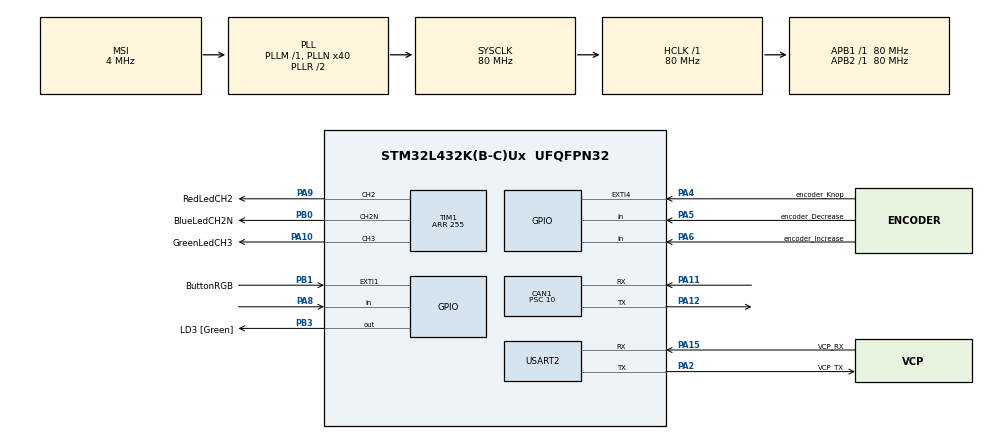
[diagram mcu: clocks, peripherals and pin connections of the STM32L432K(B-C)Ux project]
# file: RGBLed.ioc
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CAN1.ABOM=DISABLE
CAN1.BS1=CAN_BS1_13TQ
CAN1.BS2=CAN_BS2_2TQ
CAN1.CalculateBaudRate=500000
CAN1.CalculateTimeBit=2000
CAN1.CalculateTimeQuantum=125.0
CAN1.NART=ENABLE
CAN1.Prescaler=10
Mcu.Family=STM32L4
Mcu.Name=STM32L432K(B-C)Ux
Mcu.Package=UFQFPN32
NVIC.CAN1_RX0_IRQn=true\:0\:0\:false\:false\:true\:true\:true\:true
NVIC.EXTI1_IRQn=true\:0\:0\:false\:false\:true\:true\:true\:true
NVIC.PriorityGroup=NVIC_PRIORITYGROUP_4
PA0.GPIO_Label=MCO [High speed clock in]
PA0.Mode=HSE-External-Clock-Source-for-LittleOrca
PA0.Signal=RCC_CK_IN
PA10.GPIO_Label=GreenLedCH3
PA10.Signal=S_TIM1_CH3
PA11.GPIO_PuPd=GPIO_NOPULL
PA11.Mode=CAN_Activate
PA11.Signal=CAN1_RX
PA12.Mode=CAN_Activate
PA12.Signal=CAN1_TX
PA13\ (JTMS-SWDIO).GPIO_Label=SWDIO
PA13\ (JTMS-SWDIO).Mode=Serial_Wire
PA13\ (JTMS-SWDIO).Signal=SYS_JTMS-SWDIO
PA14\ (JTCK-SWCLK).GPIO_Label=SWCLK
PA14\ (JTCK-SWCLK).Mode=Serial_Wire
PA14\ (JTCK-SWCLK).Signal=SYS_JTCK-SWCLK
PA15\ (JTDI).GPIO_Label=VCP_RX
PA15\ (JTDI).Mode=Asynchronous
PA15\ (JTDI).Signal=USART2_RX
PA2.GPIO_Label=VCP_TX
PA2.Mode=Asynchronous
PA2.Signal=USART2_TX
PA4.GPIO_Label=encoder_Knop
PA4.GPIO_ModeDefaultEXTI=GPIO_MODE_IT_FALLING
PA4.GPIO_PuPd=GPIO_PULLUP
PA4.Signal=GPXTI4
PA5.GPIO_Label=encoder_Decrease
PA5.GPIO_PuPd=GPIO_PULLUP
PA5.Signal=GPIO_Input
PA6.GPIO_Label=encoder_Increase
PA6.GPIO_PuPd=GPIO_PULLUP
PA6.Signal=GPIO_Input
PA8.Signal=GPIO_Input
PA9.GPIO_Label=RedLedCH2
PA9.Signal=S_TIM1_CH2
PB0.GPIO_Label=BlueLedCH2N
PB0.Mode=PWM Generation2 CH2 CH2N
PB0.Signal=TIM1_CH2N
PB1.GPIO_Label=ButtonRGB
PB1.GPIO_ModeDefaultEXTI=GPIO_MODE_IT_FALLING
PB1.GPIO_PuPd=GPIO_PULLUP
PB1.Signal=GPXTI1
PB3\ (JTDO-TRACESWO).GPIO_Label=LD3 [Green]
PB3\ (JTDO-TRACESWO).Signal=GPIO_Output
PC14-OSC32_IN\ (PC14).Mode=LSE-External-Oscillator
PC14-OSC32_IN\ (PC14).Signal=RCC_OSC32_IN
PC15-OSC32_OUT\ (PC15).Mode=LSE-External-Oscillator
PC15-OSC32_OUT\ (PC15).Signal=RCC_OSC32_OUT
ProjectManager.HeapSize=0x200
ProjectManager.StackSize=0x400
ProjectManager.TargetToolchain=STM32CubeIDE
RCC.AHBFreq_Value=80000000
RCC.APB1Freq_Value=80000000
RCC.APB1TimFreq_Value=80000000
RCC.APB2Freq_Value=80000000
RCC.APB2TimFreq_Value=80000000
RCC.CortexFreq_Value=80000000
RCC.HCLKFreq_Value=80000000
RCC.HSE_VALUE=8000000
RCC.HSI16_VALUE=16000000
RCC.HSI48_VALUE=48000000
RCC.HSI_VALUE=16000000
RCC.MSI_VALUE=4000000
RCC.PLLMUL=RCC_PLLMUL_4
RCC.PLLN=40
RCC.SYSCLKFreq_VALUE=80000000
RCC.SYSCLKSource=RCC_SYSCLKSOURCE_PLLCLK
RCC.VCOOutputFreq_Value=160000000
SH.S_TIM1_CH2.0=TIM1_CH2,PWM Generation2 CH2 CH2N
SH.S_TIM1_CH3.0=TIM1_CH3,PWM Generation3 CH3
TIM1.Channel-PWM\ Generation2\ CH2\ CH2N=TIM_CHANNEL_2
TIM1.Channel-PWM\ Generation3\ CH3=TIM_CHANNEL_3
TIM1.Period=255
USART2.VirtualMode-Asynchronous=VM_ASYNC
VP_TIM1_VS_ClockSourceINT.Mode=Internal
board=NUCLEO-L432KC

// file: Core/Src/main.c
/* USER CODE BEGIN Header */
/**
  ******************************************************************************
  * @file           : main.c
  * @brief          : Main program body
  ******************************************************************************
  * @attention
  *
  * Copyright (c) 2026 STMicroelectronics.
  * All rights reserved.
  *
  * This software is licensed under terms that can be found in the LICENSE file
  * in the root directory of this software component.
  * If no LICENSE file comes with this software, it is provided AS-IS.
  *
  ******************************************************************************
  */
/* USER CODE END Header */
#include "main.h"

/* USER CODE BEGIN PD */
#define STEPS_PER_REV 10
/* USER CODE END PD */

CAN_HandleTypeDef hcan1;

TIM_HandleTypeDef htim1;

UART_HandleTypeDef huart2;

/* USER CODE BEGIN PV */
CAN_RxHeaderTypeDef rxHeader;
CAN_TxHeaderTypeDef header; //tx
uint8_t rxData[8];
int datacheck = 0;
uint32_t txMailbox;
uint8_t txData[8];
uint32_t mailbox;
uint8_t data[2];
int lastReportedSteps = 0;
int revolutions = 0;
/* USER CODE END PV */

void SystemClock_Config(void);
static void MX_GPIO_Init(void);
static void MX_USART2_UART_Init(void);
static void MX_TIM1_Init(void);
static void MX_CAN1_Init(void);
/* USER CODE BEGIN PFP */
void set_rgbOrange();
void set_rgbRed();
void set_rgbGreen();
void set_rgbBlue();
void set_rgbPurple();
void set_rgbYellow();
void set_rgbCyan();
void set_rgbWhite();
void turn_LedOff();

/* USER CODE END PFP */

int main(void)
{

  /* MCU Configuration--------------------------------------------------------*/

  /* Reset of all peripherals, Initializes the Flash interface and the Systick. */
  HAL_Init();

  /* Configure the system clock */
  SystemClock_Config();

  /* Initialize all configured peripherals */
  MX_GPIO_Init();
  MX_USART2_UART_Init();
  MX_TIM1_Init();
  MX_CAN1_Init();
  /* USER CODE BEGIN 2 */
  HAL_TIM_PWM_Start(&htim1, TIM_CHANNEL_2);   // CH2 RED
  HAL_TIMEx_PWMN_Start(&htim1, TIM_CHANNEL_2); // CH2N BLUE
  HAL_TIM_PWM_Start(&htim1, TIM_CHANNEL_3);//CH3 GREEN

  CAN_FilterTypeDef filter;

  filter.FilterBank = 0;
  filter.FilterMode = CAN_FILTERMODE_IDMASK;
  filter.FilterScale = CAN_FILTERSCALE_32BIT;
  filter.FilterIdHigh = 0;
  filter.FilterIdLow = 0;
  filter.FilterMaskIdHigh = 0;
  filter.FilterMaskIdLow = 0;
  filter.FilterFIFOAssignment = CAN_FILTER_FIFO0;
  filter.FilterActivation = ENABLE;

  HAL_CAN_ConfigFilter(&hcan1, &filter);
  HAL_CAN_Start(&hcan1);
  if (HAL_CAN_ActivateNotification(&hcan1, CAN_IT_RX_FIFO0_MSG_PENDING)
			!= HAL_OK) {
		Error_Handler();
	}

  HAL_UART_Transmit(&huart2, "Voor while", 10, HAL_MAX_DELAY);

  	    header.StdId = 500;
  	    header.IDE = CAN_ID_STD;
  	    header.RTR = CAN_RTR_DATA;
  	    header.DLC = 2;
  	  data[0] = 0x11;
  	  data[1] = 0x12;

  /* USER CODE END 2 */

  /* Infinite loop */
  /* USER CODE BEGIN WHILE */
  while (1)
  {
	  // ── ENCODER DRAAIEN ──────────────────────────────────────
	  static uint8_t lastState = 0;
	  uint8_t a = HAL_GPIO_ReadPin(GPIOA, encoder_Increase_Pin);
	  uint8_t b = HAL_GPIO_ReadPin(GPIOA, encoder_Decrease_Pin);
	  uint8_t currentState = (a << 1) | b;

	  int8_t delta = 0;
	  if ((lastState == 0b00 && currentState == 0b01) ||
	      (lastState == 0b01 && currentState == 0b11) ||
	      (lastState == 0b11 && currentState == 0b10) ||
	      (lastState == 0b10 && currentState == 0b00)) { delta = +1; }
	  else if ((lastState == 0b00 && currentState == 0b10) ||
	           (lastState == 0b10 && currentState == 0b11) ||
	           (lastState == 0b11 && currentState == 0b01) ||
	           (lastState == 0b01 && currentState == 0b00)) { delta = -1; }
	  lastState = currentState;

	  if (delta != 0) {
	      lastReportedSteps += delta;
	      if (lastReportedSteps >= STEPS_PER_REV) {
	          revolutions++;
	          lastReportedSteps -= STEPS_PER_REV;
	          CAN_TxHeaderTypeDef hdrEnc;
	          uint32_t mbEnc;
	          uint8_t dEnc[2];
	          hdrEnc.StdId = 0x1FE;
	          hdrEnc.IDE   = CAN_ID_STD;
	          hdrEnc.RTR   = CAN_RTR_DATA;
	          hdrEnc.DLC   = 2;
	          dEnc[0] = (revolutions >> 8) & 0xFF;
	          dEnc[1] =  revolutions & 0xFF;
	          HAL_CAN_AddTxMessage(&hcan1, &hdrEnc, dEnc, &mbEnc);
	      } else if (lastReportedSteps <= -STEPS_PER_REV) {
	          revolutions--;
	          lastReportedSteps += STEPS_PER_REV;
	          CAN_TxHeaderTypeDef hdrEnc;
	          uint32_t mbEnc;
	          uint8_t dEnc[2];
	          hdrEnc.StdId = 0x1FE;
	          hdrEnc.IDE   = CAN_ID_STD;
	          hdrEnc.RTR   = CAN_RTR_DATA;
	          hdrEnc.DLC   = 2;
	          dEnc[0] = (revolutions >> 8) & 0xFF;
	          dEnc[1] =  revolutions & 0xFF;
	          HAL_CAN_AddTxMessage(&hcan1, &hdrEnc, dEnc, &mbEnc);
	      }
	  }

	  // ── ENCODER KNOP (PA4) ───────────────────────────────────
	  static GPIO_PinState lastKnopState = GPIO_PIN_SET;
	  GPIO_PinState knopState = HAL_GPIO_ReadPin(GPIOA, encoder_Knop_Pin);

	  if (knopState == GPIO_PIN_RESET && lastKnopState == GPIO_PIN_SET) {
	      HAL_Delay(50);
	      CAN_TxHeaderTypeDef hdrKnop;
	      uint32_t mbKnop;
	      uint8_t dKnop[1] = {0x01};
	      hdrKnop.StdId = 0x1FF;
	      hdrKnop.IDE   = CAN_ID_STD;
	      hdrKnop.RTR   = CAN_RTR_DATA;
	      hdrKnop.DLC   = 1;
	      HAL_CAN_AddTxMessage(&hcan1, &hdrKnop, dKnop, &mbKnop);
	  }
	  lastKnopState = knopState;

//	   set_rgbOrange();
//	   HAL_Delay(2000);
//	   set_rgbRed();
//	   HAL_Delay(2000);
//	   set_rgbGreen();
//	   HAL_Delay(2000);
//	   set_rgbBlue();
//	   HAL_Delay(2000);
//	   set_rgbPurple();
//	   HAL_Delay(2000);
//	   set_rgbYellow();
//	   HAL_Delay(2000);
//	   set_rgbCyan();
//	   HAL_Delay(2000);
//	   set_rgbWhite();
//	   HAL_Delay(2000);
//	  turn_LedOff();
//	  HAL_Delay(2000);

	  if (datacheck) {
	      datacheck = 0;
	      HAL_UART_Transmit(&huart2, "can binnen", 10, HAL_MAX_DELAY);
	      if (rxHeader.StdId == 501) {
	          set_rgbOrange();
	      } else if (rxHeader.StdId == 502) {
	          set_rgbRed();
	      } else if (rxHeader.StdId == 503) {
	          set_rgbGreen();
	      } else if (rxHeader.StdId == 504) {
	          set_rgbBlue();
	      } else if (rxHeader.StdId == 505) {
	          set_rgbPurple();
	      } else if (rxHeader.StdId == 506) {
	          set_rgbYellow();
	      } else if (rxHeader.StdId == 507) {
	          set_rgbCyan();
	      } else if (rxHeader.StdId == 508) {
	          set_rgbWhite();
	      }
	      	else if (rxHeader.StdId == 509) {
	    	  turn_LedOff();
	      }
	  }

    /* USER CODE END WHILE */

  }
}

void SystemClock_Config(void)
{
  RCC_OscInitTypeDef RCC_OscInitStruct = {0};
  RCC_ClkInitTypeDef RCC_ClkInitStruct = {0};

  /** Configure the main internal regulator output voltage
  */
  if (HAL_PWREx_ControlVoltageScaling(PWR_REGULATOR_VOLTAGE_SCALE1) != HAL_OK)
  {
    Error_Handler();
  }

  /** Configure LSE Drive Capability
  */
  HAL_PWR_EnableBkUpAccess();
  __HAL_RCC_LSEDRIVE_CONFIG(RCC_LSEDRIVE_LOW);

  /** Initializes the RCC Oscillators according to the specified parameters
  * in the RCC_OscInitTypeDef structure.
  */
  RCC_OscInitStruct.OscillatorType = RCC_OSCILLATORTYPE_LSE|RCC_OSCILLATORTYPE_MSI;
  RCC_OscInitStruct.LSEState = RCC_LSE_ON;
  RCC_OscInitStruct.MSIState = RCC_MSI_ON;
  RCC_OscInitStruct.MSICalibrationValue = 0;
  RCC_OscInitStruct.MSIClockRange = RCC_MSIRANGE_6;
  RCC_OscInitStruct.PLL.PLLState = RCC_PLL_ON;
  RCC_OscInitStruct.PLL.PLLSource = RCC_PLLSOURCE_MSI;
  RCC_OscInitStruct.PLL.PLLM = 1;
  RCC_OscInitStruct.PLL.PLLN = 40;
  RCC_OscInitStruct.PLL.PLLP = RCC_PLLP_DIV7;
  RCC_OscInitStruct.PLL.PLLQ = RCC_PLLQ_DIV2;
  RCC_OscInitStruct.PLL.PLLR = RCC_PLLR_DIV2;
  if (HAL_RCC_OscConfig(&RCC_OscInitStruct) != HAL_OK)
  {
    Error_Handler();
  }

  /** Initializes the CPU, AHB and APB buses clocks
  */
  RCC_ClkInitStruct.ClockType = RCC_CLOCKTYPE_HCLK|RCC_CLOCKTYPE_SYSCLK
                              |RCC_CLOCKTYPE_PCLK1|RCC_CLOCKTYPE_PCLK2;
  RCC_ClkInitStruct.SYSCLKSource = RCC_SYSCLKSOURCE_PLLCLK;
  RCC_ClkInitStruct.AHBCLKDivider = RCC_SYSCLK_DIV1;
  RCC_ClkInitStruct.APB1CLKDivider = RCC_HCLK_DIV1;
  RCC_ClkInitStruct.APB2CLKDivider = RCC_HCLK_DIV1;

  if (HAL_RCC_ClockConfig(&RCC_ClkInitStruct, FLASH_LATENCY_4) != HAL_OK)
  {
    Error_Handler();
  }

  /** Enable MSI Auto calibration
  */
  HAL_RCCEx_EnableMSIPLLMode();
}

static void MX_CAN1_Init(void)
{

  hcan1.Instance = CAN1;
  hcan1.Init.Prescaler = 10;
  hcan1.Init.Mode = CAN_MODE_NORMAL;
  hcan1.Init.SyncJumpWidth = CAN_SJW_1TQ;
  hcan1.Init.TimeSeg1 = CAN_BS1_13TQ;
  hcan1.Init.TimeSeg2 = CAN_BS2_2TQ;
  hcan1.Init.TimeTriggeredMode = DISABLE;
  hcan1.Init.AutoBusOff = DISABLE;
  hcan1.Init.AutoWakeUp = DISABLE;
  hcan1.Init.AutoRetransmission = ENABLE;
  hcan1.Init.ReceiveFifoLocked = DISABLE;
  hcan1.Init.TransmitFifoPriority = DISABLE;
  if (HAL_CAN_Init(&hcan1) != HAL_OK)
  {
    Error_Handler();
  }

}

static void MX_TIM1_Init(void)
{

  TIM_ClockConfigTypeDef sClockSourceConfig = {0};
  TIM_MasterConfigTypeDef sMasterConfig = {0};
  TIM_OC_InitTypeDef sConfigOC = {0};
  TIM_BreakDeadTimeConfigTypeDef sBreakDeadTimeConfig = {0};

  htim1.Instance = TIM1;
  htim1.Init.Prescaler = 0;
  htim1.Init.CounterMode = TIM_COUNTERMODE_UP;
  htim1.Init.Period = 255;
  htim1.Init.ClockDivision = TIM_CLOCKDIVISION_DIV1;
  htim1.Init.RepetitionCounter = 0;
  htim1.Init.AutoReloadPreload = TIM_AUTORELOAD_PRELOAD_DISABLE;
  if (HAL_TIM_Base_Init(&htim1) != HAL_OK)
  {
    Error_Handler();
  }
  sClockSourceConfig.ClockSource = TIM_CLOCKSOURCE_INTERNAL;
  if (HAL_TIM_ConfigClockSource(&htim1, &sClockSourceConfig) != HAL_OK)
  {
    Error_Handler();
  }
  if (HAL_TIM_PWM_Init(&htim1) != HAL_OK)
  {
    Error_Handler();
  }
  sMasterConfig.MasterOutputTrigger = TIM_TRGO_RESET;
  sMasterConfig.MasterOutputTrigger2 = TIM_TRGO2_RESET;
  sMasterConfig.MasterSlaveMode = TIM_MASTERSLAVEMODE_DISABLE;
  if (HAL_TIMEx_MasterConfigSynchronization(&htim1, &sMasterConfig) != HAL_OK)
  {
    Error_Handler();
  }
  sConfigOC.OCMode = TIM_OCMODE_PWM1;
  sConfigOC.Pulse = 0;
  sConfigOC.OCPolarity = TIM_OCPOLARITY_HIGH;
  sConfigOC.OCNPolarity = TIM_OCNPOLARITY_HIGH;
  sConfigOC.OCFastMode = TIM_OCFAST_DISABLE;
  sConfigOC.OCIdleState = TIM_OCIDLESTATE_RESET;
  sConfigOC.OCNIdleState = TIM_OCNIDLESTATE_RESET;
  if (HAL_TIM_PWM_ConfigChannel(&htim1, &sConfigOC, TIM_CHANNEL_2) != HAL_OK)
  {
    Error_Handler();
  }
  if (HAL_TIM_PWM_ConfigChannel(&htim1, &sConfigOC, TIM_CHANNEL_3) != HAL_OK)
  {
    Error_Handler();
  }
  sBreakDeadTimeConfig.OffStateRunMode = TIM_OSSR_DISABLE;
  sBreakDeadTimeConfig.OffStateIDLEMode = TIM_OSSI_DISABLE;
  sBreakDeadTimeConfig.LockLevel = TIM_LOCKLEVEL_OFF;
  sBreakDeadTimeConfig.DeadTime = 0;
  sBreakDeadTimeConfig.BreakState = TIM_BREAK_DISABLE;
  sBreakDeadTimeConfig.BreakPolarity = TIM_BREAKPOLARITY_HIGH;
  sBreakDeadTimeConfig.BreakFilter = 0;
  sBreakDeadTimeConfig.Break2State = TIM_BREAK2_DISABLE;
  sBreakDeadTimeConfig.Break2Polarity = TIM_BREAK2POLARITY_HIGH;
  sBreakDeadTimeConfig.Break2Filter = 0;
  sBreakDeadTimeConfig.AutomaticOutput = TIM_AUTOMATICOUTPUT_DISABLE;
  if (HAL_TIMEx_ConfigBreakDeadTime(&htim1, &sBreakDeadTimeConfig) != HAL_OK)
  {
    Error_Handler();
  }
  HAL_TIM_MspPostInit(&htim1);

}

static void MX_USART2_UART_Init(void)
{

  huart2.Instance = USART2;
  huart2.Init.BaudRate = 115200;
  huart2.Init.WordLength = UART_WORDLENGTH_8B;
  huart2.Init.StopBits = UART_STOPBITS_1;
  huart2.Init.Parity = UART_PARITY_NONE;
  huart2.Init.Mode = UART_MODE_TX_RX;
  huart2.Init.HwFlowCtl = UART_HWCONTROL_NONE;
  huart2.Init.OverSampling = UART_OVERSAMPLING_16;
  huart2.Init.OneBitSampling = UART_ONE_BIT_SAMPLE_DISABLE;
  huart2.AdvancedInit.AdvFeatureInit = UART_ADVFEATURE_NO_INIT;
  if (HAL_UART_Init(&huart2) != HAL_OK)
  {
    Error_Handler();
  }

}

static void MX_GPIO_Init(void)
{
  GPIO_InitTypeDef GPIO_InitStruct = {0};

  /* GPIO Ports Clock Enable */
  __HAL_RCC_GPIOC_CLK_ENABLE();
  __HAL_RCC_GPIOA_CLK_ENABLE();
  __HAL_RCC_GPIOB_CLK_ENABLE();

  /*Configure GPIO pin Output Level */
  HAL_GPIO_WritePin(LD3_GPIO_Port, LD3_Pin, GPIO_PIN_RESET);

  /*Configure GPIO pin : encoder_Knop_Pin */
  GPIO_InitStruct.Pin = encoder_Knop_Pin;
  GPIO_InitStruct.Mode = GPIO_MODE_IT_FALLING;
  GPIO_InitStruct.Pull = GPIO_PULLUP;
  HAL_GPIO_Init(encoder_Knop_GPIO_Port, &GPIO_InitStruct);

  /*Configure GPIO pins : encoder_Decrease_Pin encoder_Increase_Pin */
  GPIO_InitStruct.Pin = encoder_Decrease_Pin|encoder_Increase_Pin;
  GPIO_InitStruct.Mode = GPIO_MODE_INPUT;
  GPIO_InitStruct.Pull = GPIO_PULLUP;
  HAL_GPIO_Init(GPIOA, &GPIO_InitStruct);

  /*Configure GPIO pin : ButtonRGB_Pin */
  GPIO_InitStruct.Pin = ButtonRGB_Pin;
  GPIO_InitStruct.Mode = GPIO_MODE_IT_FALLING;
  GPIO_InitStruct.Pull = GPIO_PULLUP;
  HAL_GPIO_Init(ButtonRGB_GPIO_Port, &GPIO_InitStruct);

  /*Configure GPIO pin : PA8 */
  GPIO_InitStruct.Pin = GPIO_PIN_8;
  GPIO_InitStruct.Mode = GPIO_MODE_INPUT;
  GPIO_InitStruct.Pull = GPIO_NOPULL;
  HAL_GPIO_Init(GPIOA, &GPIO_InitStruct);

  /*Configure GPIO pin : LD3_Pin */
  GPIO_InitStruct.Pin = LD3_Pin;
  GPIO_InitStruct.Mode = GPIO_MODE_OUTPUT_PP;
  GPIO_InitStruct.Pull = GPIO_NOPULL;
  GPIO_InitStruct.Speed = GPIO_SPEED_FREQ_LOW;
  HAL_GPIO_Init(LD3_GPIO_Port, &GPIO_InitStruct);

  /* EXTI interrupt init*/
  HAL_NVIC_SetPriority(EXTI1_IRQn, 0, 0);
  HAL_NVIC_EnableIRQ(EXTI1_IRQn);

}

/* USER CODE BEGIN 4 */

void set_rgbOrange() {
	HAL_TIMEx_PWMN_Start(&htim1, TIM_CHANNEL_2);//Anders gaat blauw niet meer aan na de vorige functie.
    __HAL_TIM_SET_COMPARE(&htim1, TIM_CHANNEL_2, 255);//rood
    __HAL_TIM_SET_COMPARE(&htim1, TIM_CHANNEL_3,20);//groen
}

void set_rgbRed() {
    __HAL_TIM_SET_COMPARE(&htim1, TIM_CHANNEL_2, 255);//rood
    __HAL_TIM_SET_COMPARE(&htim1, TIM_CHANNEL_3,0);//groen
}

void set_rgbGreen() {
	__HAL_TIM_SET_COMPARE(&htim1, TIM_CHANNEL_2, 0);//Anders wordt groen een beetje gelig, want er zit nog rood in.
	  HAL_TIMEx_PWMN_Stop(&htim1, TIM_CHANNEL_2); // CH2N BLUE stoppen
	__HAL_TIM_SET_COMPARE(&htim1, TIM_CHANNEL_3,255);//groen
}

void set_rgbBlue() {
	HAL_TIMEx_PWMN_Start(&htim1, TIM_CHANNEL_2);//Anders gaat blauw niet meer aan na de vorige functie.
	__HAL_TIM_SET_COMPARE(&htim1, TIM_CHANNEL_2, 0);//blauw aanzetten
	__HAL_TIM_SET_COMPARE(&htim1, TIM_CHANNEL_3,0);//groen uit.
}

void set_rgbPurple(){
	__HAL_TIM_SET_COMPARE(&htim1, TIM_CHANNEL_2, 127);//blauw en rood half aan
}

void set_rgbYellow(){
	// Geel = Rood + Groen
	__HAL_TIM_SET_COMPARE(&htim1, TIM_CHANNEL_2, 255);//rood
	__HAL_TIM_SET_COMPARE(&htim1, TIM_CHANNEL_3,100);//groen
}

void set_rgbCyan(){
	// Cyaan = Groen + Blauw
	__HAL_TIM_SET_COMPARE(&htim1, TIM_CHANNEL_2, 100);//blauw
	__HAL_TIM_SET_COMPARE(&htim1, TIM_CHANNEL_3,255);//groen
}

void set_rgbWhite(){
	// Wit = Rood + Groen + Blauw
	__HAL_TIM_SET_COMPARE(&htim1, TIM_CHANNEL_2, 200);//paars
	__HAL_TIM_SET_COMPARE(&htim1, TIM_CHANNEL_3,100);//groen
}

void turn_LedOff(){
	//Alle led gaan uit.
	__HAL_TIM_SET_COMPARE(&htim1, TIM_CHANNEL_2, 0);//rood uit
	HAL_TIMEx_PWMN_Stop(&htim1, TIM_CHANNEL_2); // CH2N BLUE stoppen, waardoor rood en blauw uit zijn.
	__HAL_TIM_SET_COMPARE(&htim1, TIM_CHANNEL_3,0);//groen
}

void HAL_CAN_RxFifo0MsgPendingCallback(CAN_HandleTypeDef *hcan1) {
	 HAL_UART_Transmit(&huart2, "krijgt can", 11, HAL_MAX_DELAY);
	if (HAL_CAN_GetRxMessage(hcan1, CAN_RX_FIFO0, &rxHeader, rxData) != HAL_OK) {
		Error_Handler();
	}
	if (rxHeader.StdId == 501 ||rxHeader.StdId == 502 ||rxHeader.StdId == 503 ||rxHeader.StdId == 504 ||rxHeader.StdId == 505
			||rxHeader.StdId == 506 ||rxHeader.StdId == 507 ||rxHeader.StdId == 508||rxHeader.StdId == 509) {
		datacheck = 1;
		  HAL_UART_Transmit(&huart2, "geaccepteerd?", 13, HAL_MAX_DELAY);
	}
}

void HAL_GPIO_EXTI_Callback(uint16_t GPIO_Pin)//interrupt voor de button
{
    if (GPIO_Pin == encoder_Knop_Pin)
    {
        static uint32_t lastPress = 0;
        uint32_t now = HAL_GetTick();

        if (now - lastPress > 200) // 200ms debounce
        {
            lastPress = now;
            header.StdId = 511;

            HAL_UART_Transmit(&huart2, "Button ingedrukt\r\n", 18, HAL_MAX_DELAY);
            if (HAL_CAN_GetTxMailboxesFreeLevel(&hcan1) > 0) {
                if (HAL_CAN_AddTxMessage(&hcan1, &header, data, &mailbox) != HAL_OK) {
                    Error_Handler();
                } else {
                    char msg[] = "CAN verstuurd!\r\n";
                    HAL_UART_Transmit(&huart2, (uint8_t*)msg, strlen(msg), HAL_MAX_DELAY);
                }
                header.StdId = 500;
            } else {
                HAL_UART_Transmit(&huart2, "Mailbox vol!\r\n", 14, HAL_MAX_DELAY);
            }
        }

    }
    if (GPIO_Pin == ButtonRGB_Pin)
    {
        static uint32_t lastPress = 0;
        uint32_t now = HAL_GetTick();

        if (now - lastPress > 200) // 200ms debounce
        {
            lastPress = now;
            HAL_UART_Transmit(&huart2, "Button ingedrukt\r\n", 18, HAL_MAX_DELAY);
            if (HAL_CAN_GetTxMailboxesFreeLevel(&hcan1) > 0) {
                if (HAL_CAN_AddTxMessage(&hcan1, &header, data, &mailbox) != HAL_OK) {
                    Error_Handler();
                } else {
                    char msg[] = "CAN verstuurd!\r\n";
                    HAL_UART_Transmit(&huart2, (uint8_t*)msg, strlen(msg), HAL_MAX_DELAY);
                }
            } else {
                HAL_UART_Transmit(&huart2, "Mailbox vol!\r\n", 14, HAL_MAX_DELAY);
            }
        }
    }

}

/* USER CODE END 4 */

void Error_Handler(void)
{
  __disable_irq();
  while (1)
  {
  }
}
